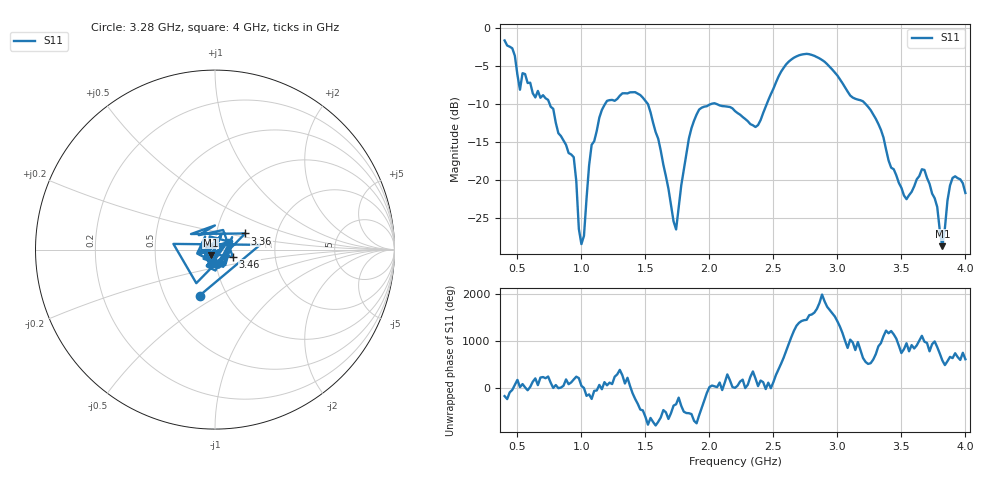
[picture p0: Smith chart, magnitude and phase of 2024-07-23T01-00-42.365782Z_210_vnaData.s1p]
!Created with skrf (http://scikit-rf.org).
# Hz S RI R 50.0
!freq ReS11 ImS11
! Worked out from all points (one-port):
!   181 points, 400 MHz to 4 GHz, reference 50 ohm
!   lowest |S11| = -28.6 dB at 3.82 GHz (marker M1), VSWR 1.08, Z = 47.7 - j2.8 ohm
!   |S11| at or under -10 dB: 751.8 MHz to 1.185 GHz (433.5 MHz wide, 44.8 % of centre); 1.519 GHz to 2.015 GHz (496.3 MHz wide, 28.1 % of centre); 3.22 GHz to end of sweep (the widest 3 of 4)
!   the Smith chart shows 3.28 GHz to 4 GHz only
!   S11 on the Smith chart (normalised r, x): 3.28 GHz: 0.75, -0.41; 3.36 GHz: 1.38, +0.26; 3.46 GHz: 1.22, -0.10; 4 GHz: 0.95, -0.15
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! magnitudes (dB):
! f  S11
! 400 MHz  -1.7
! 480 MHz  -3.7
! 520 MHz  -8.1
! 560 MHz  -6.1
! 740 MHz  -9.5
! 860 MHz  -14.8
! 940 MHz  -17.0
! 1 GHz  -28.4
! 1.08 GHz  -15.4
! 1.18 GHz  -10.1
! 1.3 GHz  -8.9
! 1.52 GHz  -10.0
! 1.72 GHz  -25.4
! 1.76 GHz  -23.6
! 1.84 GHz  -14.5
! 1.92 GHz  -10.7
! 2.2 GHz  -10.9
! 2.38 GHz  -12.8
! 2.66 GHz  -3.9
! 3.1 GHz  -8.9
! 3.28 GHz  -11.4
! 3.36 GHz  -14.4
! 3.46 GHz  -19.3
! 3.56 GHz  -22.0
! 3.68 GHz  -18.6
! 3.82 GHz  -28.6
! 3.9 GHz  -19.7
! 4 GHz  -21.7
